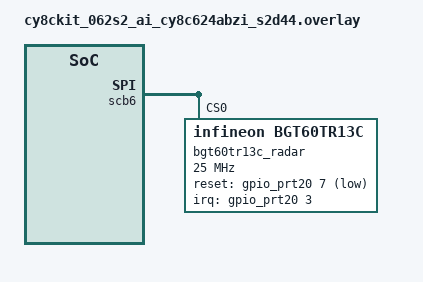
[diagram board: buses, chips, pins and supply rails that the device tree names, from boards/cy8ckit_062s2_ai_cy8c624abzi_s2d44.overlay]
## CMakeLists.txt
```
cmake_minimum_required(VERSION 3.20.0)

set(ZEPHYR_EXTRA_MODULES "${CMAKE_CURRENT_SOURCE_DIR}/../../modules/bgt60tr13c")
find_package(Zephyr REQUIRED HINTS $ENV{ZEPHYR_BASE})
project(bgt60tr13c_radar_demo)

target_sources(app PRIVATE 
    src/main.c
    src/scb3_clock_fix.c
)
```

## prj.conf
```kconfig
CONFIG_BGT60TR13C=y
CONFIG_SPI=y
CONFIG_GPIO=y
CONFIG_LOG=y
CONFIG_LOG_DEFAULT_LEVEL=3
# Room for ~10 back-to-back frame lines at the frame cadence without drops.
CONFIG_LOG_BUFFER_SIZE=4096

# Silence noisy SPI/GPIO/clock debug logs
CONFIG_SPI_LOG_LEVEL_WRN=y
CONFIG_GPIO_LOG_LEVEL_WRN=y

# Clock control
CONFIG_CLOCK_CONTROL=y
CONFIG_CLOCK_CONTROL_LOG_LEVEL_WRN=y

# Ensure SPI init priority is correct
CONFIG_SPI_INIT_PRIORITY=70
```

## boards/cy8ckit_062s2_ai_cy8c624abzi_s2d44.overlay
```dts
/{
        aliases {
                radar-sensor = &bgt60tr13c_radar;
        };
};

&scb6 {
        compatible = "infineon,spi";
        status = "okay";
        #address-cells = <1>;
        #size-cells = <0>;

        clocks = <&peri0_group1_16bit_1>;

        pinctrl-0 = <&p21_6_scb3_spi_m_clk &p21_4_scb3_spi_m_miso &p21_5_scb3_spi_m_mosi &p21_7_scb3_spi_m_select1>;


        pinctrl-names = "default";

        bgt60tr13c_radar: bgt60tr13c@0 {
                compatible = "infineon,bgt60tr13c";
                reg = <0>;
                spi-max-frequency = <25000000>; /* 25 MHz max SPI frequency */
                duplex = <0>; /* SPI_FULL_DUPLEX */
                frame-format = <0>; /* SPI_FRAME_FORMAT_MOTOROLA */
                spi-interframe-delay-ns = <200>; /* 200ns delay between frames */
                reset-gpios = <&gpio_prt20 7 GPIO_ACTIVE_LOW>;
                irq-gpios = <&gpio_prt20 3 GPIO_ACTIVE_HIGH>;
        };
};
```

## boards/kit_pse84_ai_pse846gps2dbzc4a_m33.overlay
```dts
// Base directory of the kit_pse84_ai board: https: //github.com/zephyrproject-rtos/zephyr/tree/main/boards/infineon/kit_pse84_ai
// Base directory for the pse84 soc: https: //github.com/zephyrproject-rtos/zephyr/tree/main/soc/infineon/edge/pse84
// pse83 dtsi: https: //github.com/zephyrproject-rtos/zephyr/tree/main/dts/arm/infineon/edge/pse84
// pse84.dtsi: https: //github.com/zephyrproject-rtos/zephyr/blob/main/dts/arm/infineon/edge/pse84/pse84.dtsi
// scb binding documentation: https: //docs.zephyrproject.org/latest/build/dts/api/bindings/arm/infineon%2Cscb.html#dtbinding-infineon-scb
// scb binding: https: //github.com/zephyrproject-rtos/zephyr/blob/main/dts/bindings/arm/infineon%2Cscb.yaml
// infineon,system interrupts: https: //github.com/zephyrproject-rtos/zephyr/blob/main/dts/bindings/misc/infineon%2Csystem-interrupts.yaml
// Enable nodes defined in pse84.dtsi: https: //github.com/zephyrproject-rtos/zephyr/blob/main/dts/arm/infineon/edge/pse84/pse84.dtsi


/{
        aliases {
                radar-sensor = &bgt60tr13c_radar;
        };
};


spi3: &scb3 {
        compatible = "infineon,spi";
        status = "okay";
        #address-cells = <1>;
        #size-cells = <0>;

        clocks = <&peri0_group1_16bit_2>;

        pinctrl-0 = <&p21_6_scb3_spi_m_clk &p21_4_scb3_spi_m_miso &p21_5_scb3_spi_m_mosi>;
        pinctrl-names = "default";
        cs-gpios = <&gpio_prt21 7 GPIO_ACTIVE_LOW>;

        bgt60tr13c_radar: bgt60tr13c@0 {
                compatible = "infineon,bgt60tr13c";
                reg = <0>;
                spi-max-frequency = <25000000>;
                /* Datasheet-safe inter-word gap; SPI-default is
                 * half-of-SCK (~20 ns @ 25 MHz) which is under the
                 * chip's tSSCK setup requirement.
                 */
                spi-interframe-delay-ns = <200>;
                reset-gpios = <&gpio_prt20 7 GPIO_ACTIVE_LOW>;
                irq-gpios = <&gpio_prt20 3 GPIO_ACTIVE_HIGH>;
        };
};

&peri0_group1_16bit_2 {
        status = "okay";
        clock-div = <1>;
};

&p21_6_scb3_spi_m_clk {
        drive-strength = "full";
        drive-push-pull;
};

&p21_4_scb3_spi_m_miso {
        drive-strength = "full";
        input-enable;
};

&p21_5_scb3_spi_m_mosi {
        drive-strength = "full";
        drive-push-pull;
};

&p21_7_scb3_spi_m_select1 {
        drive-push-pull;
};


&gpio_prt20 {
        status = "okay";
};

&gpio_prt21 {
        status = "okay";
};
```

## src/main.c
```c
#include <stdio.h>
#include <zephyr/kernel.h>
#include <zephyr/logging/log.h>
#include <cy_sysclk.h>

#include "bgt60tr13c.h"
#include "radar_config.h"

LOG_MODULE_REGISTER(main, LOG_LEVEL_INF);

static const struct device *radar_sensor =
    DEVICE_DT_GET(DT_ALIAS(radar_sensor));

#define NUM_SAMPLES RADAR_NUM_SAMPLES_PER_FRAME
#define NUM_FRAMES 10
#define FRAME_PERIOD_MS 5 /* matches config frame_repetition_time_s = 5e-3 */

/* IRQ wait budget: chirp cadence is 5 ms; 50 ms tolerates ~10x slack. */
#define FIFO_IRQ_TIMEOUT K_MSEC(50)

/* Buffer for one frame of FIFO data */
static uint16_t samples[NUM_SAMPLES];

/**
 * Log one frame's stats + first 8 raw samples as a single line so the
 * log backend never splits it under back-pressure.
 */
static void log_frame_stats(uint32_t frame_idx, const uint16_t *buf,
			    uint32_t count)
{
	uint16_t min_val = 0x0FFF;
	uint16_t max_val = 0;
	uint32_t sum = 0;

	for (uint32_t i = 0; i < count; i++) {
		uint16_t v = buf[i] & 0x0FFF;
		if (v < min_val) {
			min_val = v;
		}
		if (v > max_val) {
			max_val = v;
		}
		sum += v;
	}

	uint32_t mean = sum / count;

	char line[128];
	int n = snprintf(
	    line, sizeof(line), "Frame %2u: min=%4u max=%4u mean=%4u | ",
	    (unsigned int)frame_idx, min_val, max_val, (unsigned int)mean);

	for (int i = 0; i < 8 && i < (int)count && n < (int)sizeof(line); i++) {
		n += snprintf(line + n, sizeof(line) - n, "%04X ", buf[i]);
	}

	LOG_INF("%s...", line);
}

int main(void)
{
	LOG_INF("BGT60TR13C RADAR Sensor - Phase 3: Real Data");

	if (!device_is_ready(radar_sensor)) {
		LOG_ERR("RADAR sensor device is not ready");
		return -ENODEV;
	}

	const struct bgt60tr13c_api *api = radar_sensor->api;
	int ret;

	LOG_INF("Sensor ready (CHIP_ID verified during init)");

	LOG_INF("Configuring sensor (%u registers)...",
		(unsigned int)RADAR_REGS_LEN);
	ret = api->config(radar_sensor, radar_regs, RADAR_REGS_LEN);
	if (ret < 0) {
		LOG_ERR("config failed: %d", ret);
		return ret;
	}

	ret = api->set_fifo_limit(radar_sensor, NUM_SAMPLES);
	if (ret < 0) {
		LOG_ERR("set_fifo_limit failed: %d", ret);
		return ret;
	}

	LOG_INF("Starting frame acquisition (%u samples/frame, %u frames)",
		NUM_SAMPLES, NUM_FRAMES);

	ret = api->start_frame(radar_sensor, true);
	if (ret < 0) {
		LOG_ERR("start_frame failed: %d", ret);
		return ret;
	}

	for (uint32_t frame = 0; frame < NUM_FRAMES; frame++) {
		ret = api->wait_fifo_ready(radar_sensor, FIFO_IRQ_TIMEOUT);
		if (ret < 0) {
			uint32_t fstat = 0;
			(void)api->get_fifo_status(radar_sensor, &fstat);
			LOG_ERR("Frame %u: IRQ wait failed (ret=%d, "
				"fstat=0x%06X)",
				(unsigned int)frame, ret, (unsigned int)fstat);
			break;
		}

		ret = api->get_fifo_data(radar_sensor, samples, NUM_SAMPLES);
		if (ret < 0) {
			LOG_ERR("Frame %u: get_fifo_data failed: %d",
				(unsigned int)frame, ret);
			break;
		}

		log_frame_stats(frame, samples, NUM_SAMPLES);
	}

	api->start_frame(radar_sensor, false);
	LOG_INF("Done.");

	while (1) {
		k_sleep(K_FOREVER);
	}

	return 0;
}
```

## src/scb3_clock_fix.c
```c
/*
 * SCB3 Clock Enablement Fix
 *
 * SCB3 (SPI for BGT60TR13C) is in PERI_0_GROUP_1, which requires CLK_HF10.
 * The Zephyr SoC init (soc_pse84_m33_s.c) only explicitly enables CLK_HF3,
 * HF4, and HF11. If the boot ROM doesn't enable CLK_HF10, SCB3 will not
 * function.
 *
 * This module ensures CLK_HF10 is enabled before any SPI/UART in GROUP_1
 * is initialized. It runs at PRE_KERNEL_1 priority 0 (before the clock
 * control driver).
 */

#include <zephyr/init.h>
#include <zephyr/kernel.h>
#include <cy_sysclk.h>

#include <zephyr/logging/log.h>
LOG_MODULE_REGISTER(scb3_clock_fix, LOG_LEVEL_INF);

static int ensure_clk_hf10_enabled(void)
{
	bool was_enabled = Cy_SysClk_ClkHfIsEnabled(10U);

	if (!was_enabled) {
		LOG_WRN("CLK_HF10 was NOT enabled! Enabling now for PERI_0_GROUP_1 (SCB2/SCB3)");

		/* Set CLK_HF10 source to CLKPATH0 (same as other HF clocks) */
		cy_en_sysclk_status_t status;

		status = Cy_SysClk_ClkHfSetSource(10U, CY_SYSCLK_CLKHF_IN_CLKPATH0);
		if (status != CY_SYSCLK_SUCCESS) {
			LOG_ERR("ClkHfSetSource(10) failed: %d", status);
			return -EIO;
		}

		status = Cy_SysClk_ClkHfSetDivider(10U, CY_SYSCLK_CLKHF_NO_DIVIDE);
		if (status != CY_SYSCLK_SUCCESS) {
			LOG_ERR("ClkHfSetDivider(10) failed: %d", status);
			return -EIO;
		}

		status = Cy_SysClk_ClkHfEnable(10U);
		if (status != CY_SYSCLK_SUCCESS) {
			LOG_ERR("ClkHfEnable(10) failed: %d", status);
			return -EIO;
		}

		LOG_INF("CLK_HF10 enabled successfully");
	} else {
		LOG_INF("CLK_HF10 was already enabled (freq=%u Hz)",
			Cy_SysClk_ClkHfGetFrequency(10U));
	}

	return 0;
}

/* Run before clock_control driver (PRE_KERNEL_1, priority 0) */
SYS_INIT(ensure_clk_hf10_enabled, PRE_KERNEL_1, 0);
```
